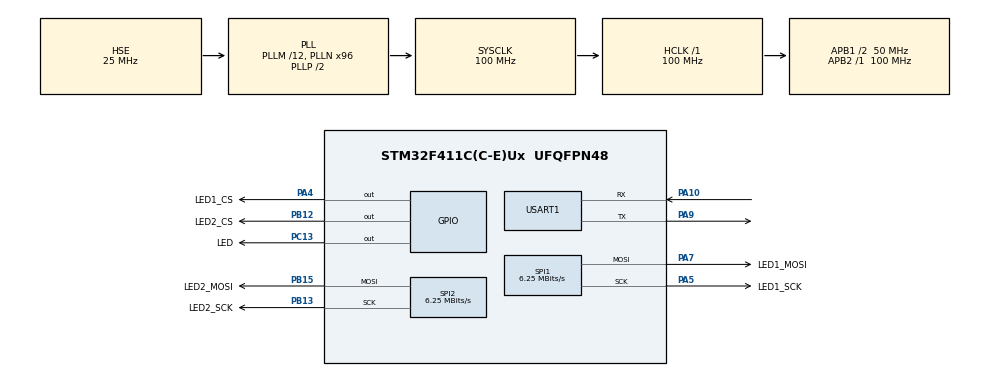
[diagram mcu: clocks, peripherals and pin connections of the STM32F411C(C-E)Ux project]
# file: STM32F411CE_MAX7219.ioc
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Dma.Request0=SPI2_TX
Dma.Request1=SPI1_TX
Dma.SPI1_TX.1.Direction=DMA_MEMORY_TO_PERIPH
Dma.SPI1_TX.1.FIFOMode=DMA_FIFOMODE_DISABLE
Dma.SPI1_TX.1.Instance=DMA2_Stream2
Dma.SPI1_TX.1.MemDataAlignment=DMA_MDATAALIGN_BYTE
Dma.SPI1_TX.1.MemInc=DMA_MINC_ENABLE
Dma.SPI1_TX.1.Mode=DMA_NORMAL
Dma.SPI1_TX.1.PeriphDataAlignment=DMA_PDATAALIGN_BYTE
Dma.SPI1_TX.1.PeriphInc=DMA_PINC_DISABLE
Dma.SPI1_TX.1.Priority=DMA_PRIORITY_LOW
Dma.SPI2_TX.0.Direction=DMA_MEMORY_TO_PERIPH
Dma.SPI2_TX.0.FIFOMode=DMA_FIFOMODE_DISABLE
Dma.SPI2_TX.0.Instance=DMA1_Stream4
Dma.SPI2_TX.0.MemDataAlignment=DMA_MDATAALIGN_BYTE
Dma.SPI2_TX.0.MemInc=DMA_MINC_ENABLE
Dma.SPI2_TX.0.Mode=DMA_NORMAL
Dma.SPI2_TX.0.PeriphDataAlignment=DMA_PDATAALIGN_BYTE
Dma.SPI2_TX.0.PeriphInc=DMA_PINC_DISABLE
Dma.SPI2_TX.0.Priority=DMA_PRIORITY_LOW
Mcu.Family=STM32F4
Mcu.Name=STM32F411C(C-E)Ux
Mcu.Package=UFQFPN48
NVIC.DMA1_Stream4_IRQn=true\:0\:0\:false\:false\:true\:false\:true\:true
NVIC.DMA2_Stream2_IRQn=true\:0\:0\:false\:false\:true\:false\:true\:true
NVIC.PriorityGroup=NVIC_PRIORITYGROUP_4
NVIC.SPI1_IRQn=true\:0\:0\:false\:false\:true\:true\:true\:true
PA10.Mode=Asynchronous
PA10.Signal=USART1_RX
PA13.GPIO_Label=SWDIO
PA13.Mode=Serial_Wire
PA13.Signal=SYS_JTMS-SWDIO
PA14.GPIO_Label=SWCLK
PA14.Mode=Serial_Wire
PA14.Signal=SYS_JTCK-SWCLK
PA4.GPIO_Label=LED1_CS
PA4.Signal=GPIO_Output
PA5.GPIO_Label=LED1_SCK
PA5.Mode=TX_Only_Simplex_Unidirect_Master
PA5.Signal=SPI1_SCK
PA7.GPIO_Label=LED1_MOSI
PA7.Mode=TX_Only_Simplex_Unidirect_Master
PA7.Signal=SPI1_MOSI
PA9.Mode=Asynchronous
PA9.Signal=USART1_TX
PB12.GPIO_Label=LED2_CS
PB12.Signal=GPIO_Output
PB13.GPIO_Label=LED2_SCK
PB13.Mode=TX_Only_Simplex_Unidirect_Master
PB13.Signal=SPI2_SCK
PB15.GPIO_Label=LED2_MOSI
PB15.Mode=TX_Only_Simplex_Unidirect_Master
PB15.Signal=SPI2_MOSI
PC13-ANTI_TAMP.GPIO_Label=LED
PC13-ANTI_TAMP.GPIO_PuPd=GPIO_PULLUP
PC13-ANTI_TAMP.PinState=GPIO_PIN_SET
PC13-ANTI_TAMP.Signal=GPIO_Output
PC14-OSC32_IN.Mode=LSE-External-Clock-Source
PC14-OSC32_IN.Signal=RCC_OSC32_IN
PC15-OSC32_OUT.Mode=LSE-External-Clock-Source
PC15-OSC32_OUT.Signal=RCC_OSC32_OUT
PH0\ -\ OSC_IN.Mode=HSE-External-Oscillator
PH0\ -\ OSC_IN.Signal=RCC_OSC_IN
PH1\ -\ OSC_OUT.Mode=HSE-External-Oscillator
PH1\ -\ OSC_OUT.Signal=RCC_OSC_OUT
ProjectManager.HeapSize=0x200
ProjectManager.StackSize=0x400
ProjectManager.TargetToolchain=EWARM V8.50
RCC.48MHZClocksFreq_Value=50000000
RCC.AHBFreq_Value=100000000
RCC.APB1CLKDivider=RCC_HCLK_DIV2
RCC.APB1Freq_Value=50000000
RCC.APB1TimFreq_Value=100000000
RCC.APB2Freq_Value=100000000
RCC.APB2TimFreq_Value=100000000
RCC.CortexFreq_Value=100000000
RCC.HCLKFreq_Value=100000000
RCC.HSE_VALUE=25000000
RCC.HSI_VALUE=16000000
RCC.LSE_VALUE=32768
RCC.PLLM=12
RCC.PLLN=96
RCC.PLLSourceVirtual=RCC_PLLSOURCE_HSE
RCC.SYSCLKFreq_VALUE=100000000
RCC.SYSCLKSource=RCC_SYSCLKSOURCE_PLLCLK
RCC.VCOOutputFreq_Value=200000000
SPI1.BaudRatePrescaler=SPI_BAUDRATEPRESCALER_16
SPI1.CLKPhase=SPI_PHASE_1EDGE
SPI1.CLKPolarity=SPI_POLARITY_LOW
SPI1.CRCCalculation=SPI_CRCCALCULATION_DISABLE
SPI1.CalculateBaudRate=6.25 MBits/s
SPI1.DataSize=SPI_DATASIZE_8BIT
SPI1.Direction=SPI_DIRECTION_2LINES
SPI1.Mode=SPI_MODE_MASTER
SPI1.VirtualType=VM_MASTER
SPI2.BaudRatePrescaler=SPI_BAUDRATEPRESCALER_8
SPI2.CLKPhase=SPI_PHASE_1EDGE
SPI2.CLKPolarity=SPI_POLARITY_LOW
SPI2.CalculateBaudRate=6.25 MBits/s
SPI2.Direction=SPI_DIRECTION_2LINES
SPI2.Mode=SPI_MODE_MASTER
SPI2.VirtualType=VM_MASTER
USART1.VirtualMode=VM_ASYNC
board=custom

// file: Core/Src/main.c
/* USER CODE BEGIN Header */
/**
  ******************************************************************************
  * @file           : main.c
  * @brief          : Main program body
  ******************************************************************************
  * @attention
  *
  * Copyright (c) 2023 STMicroelectronics.
  * All rights reserved.
  *
  * This software is licensed under terms that can be found in the LICENSE file
  * in the root directory of this software component.
  * If no LICENSE file comes with this software, it is provided AS-IS.
  *
  ******************************************************************************
  */
  /* USER CODE END Header */
  /* Includes ------------------------------------------------------------------*/
#include "main.h"
#include "dma.h"
#include "spi.h"
#include "usart.h"
#include "gpio.h"

/* USER CODE BEGIN Includes */
#include "spi.h"
#include "MAX7219.h"
/* USER CODE END Includes */

void SystemClock_Config(void);

int main(void)
{

    /* MCU Configuration--------------------------------------------------------*/

    /* Reset of all peripherals, Initializes the Flash interface and the Systick. */
    HAL_Init();

    /* Configure the system clock */
    SystemClock_Config();

    /* Initialize all configured peripherals */
    MX_GPIO_Init();
    MX_DMA_Init();
    MX_SPI1_Init();
    MX_SPI2_Init();
    MX_USART1_UART_Init();
    /* USER CODE BEGIN 2 */
    max7219_handle led1;
    led1.spiHandle = &hspi1;
    led1.CS_GPIO = LED1_CS_GPIO_Port;
    led1.CS_Pin = LED1_CS_Pin;
    Max7219_Init(led1);
    Max7219_Test(led1);
    uint8_t data[8] = { 0x01,0x03,0x07,0x0F,0x1F,0x3F,0x7F,0xFF };
    Max7219_Display(led1, 0, data);
    HAL_Delay(1000);
    Max7219_Display(led1, 1, data);
    HAL_Delay(1000);
    Max7219_Display(led1, 2, data);
    HAL_Delay(1000);
    Max7219_Display(led1, 3, data);
    HAL_Delay(1000);
    Max7219_Display(led1, 0, data);
    /* USER CODE END 2 */

    /* Infinite loop */
    while (1)
    {

        /* USER CODE BEGIN 3 */
        HAL_Delay(500);
        HAL_GPIO_TogglePin(LED_GPIO_Port, LED_Pin);

    }
    /* USER CODE END 3 */
}

void SystemClock_Config(void)
{
    RCC_OscInitTypeDef RCC_OscInitStruct = { 0 };
    RCC_ClkInitTypeDef RCC_ClkInitStruct = { 0 };

    /** Configure the main internal regulator output voltage
    */
    __HAL_RCC_PWR_CLK_ENABLE();
    __HAL_PWR_VOLTAGESCALING_CONFIG(PWR_REGULATOR_VOLTAGE_SCALE1);

    /** Initializes the RCC Oscillators according to the specified parameters
    * in the RCC_OscInitTypeDef structure.
    */
    RCC_OscInitStruct.OscillatorType = RCC_OSCILLATORTYPE_HSE;
    RCC_OscInitStruct.HSEState = RCC_HSE_ON;
    RCC_OscInitStruct.PLL.PLLState = RCC_PLL_ON;
    RCC_OscInitStruct.PLL.PLLSource = RCC_PLLSOURCE_HSE;
    RCC_OscInitStruct.PLL.PLLM = 12;
    RCC_OscInitStruct.PLL.PLLN = 96;
    RCC_OscInitStruct.PLL.PLLP = RCC_PLLP_DIV2;
    RCC_OscInitStruct.PLL.PLLQ = 4;
    if (HAL_RCC_OscConfig(&RCC_OscInitStruct) != HAL_OK)
    {
        Error_Handler();
    }

    /** Initializes the CPU, AHB and APB buses clocks
    */
    RCC_ClkInitStruct.ClockType = RCC_CLOCKTYPE_HCLK | RCC_CLOCKTYPE_SYSCLK
        | RCC_CLOCKTYPE_PCLK1 | RCC_CLOCKTYPE_PCLK2;
    RCC_ClkInitStruct.SYSCLKSource = RCC_SYSCLKSOURCE_PLLCLK;
    RCC_ClkInitStruct.AHBCLKDivider = RCC_SYSCLK_DIV1;
    RCC_ClkInitStruct.APB1CLKDivider = RCC_HCLK_DIV2;
    RCC_ClkInitStruct.APB2CLKDivider = RCC_HCLK_DIV1;

    if (HAL_RCC_ClockConfig(&RCC_ClkInitStruct, FLASH_LATENCY_3) != HAL_OK)
    {
        Error_Handler();
    }
}

void Error_Handler(void)
{
    __disable_irq();
    while (1)
    {
    }
}
